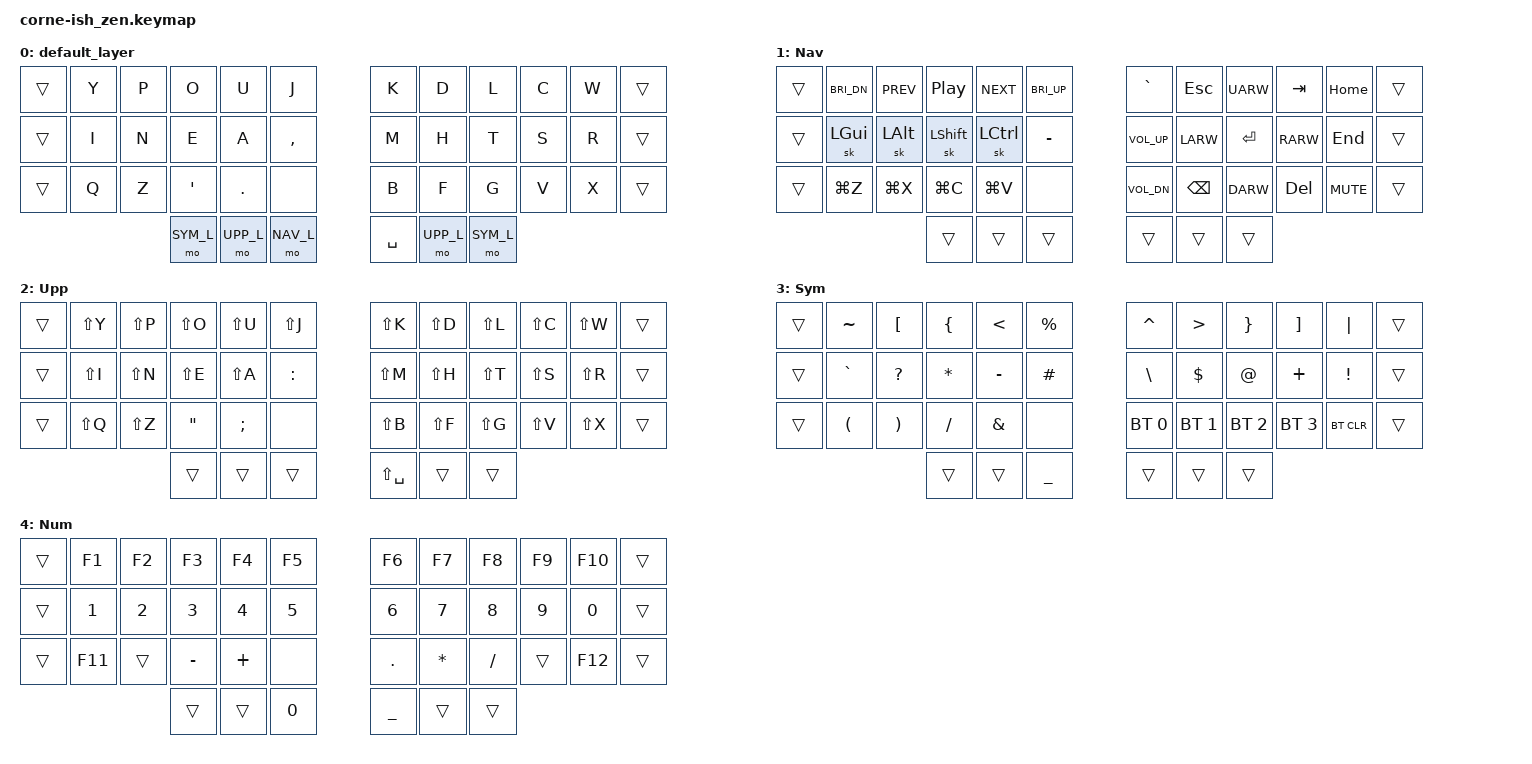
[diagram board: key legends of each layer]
/*
 * Copyright (c) 2020 The ZMK Contributors
 *
 * SPDX-License-Identifier: MIT
 */

#include <behaviors.dtsi>
#include <dt-bindings/zmk/keys.h>
#include <dt-bindings/zmk/bt.h>

/* Layers */
#define DEF_L 0
#define NAV_L 1
#define UPP_L 2
#define SYM_L 3
#define NUM_L 4

/* Behavior Settings */
&sk {
  release-after-ms = <60000>;
};

/ {

    ZMK_MACRO(mo_nav,
        wait-ms = <0>;
        tap-ms = <0>;
        bindings
        = <&macro_tap &kp K_CANCEL>
        , <&macro_press &mo NAV_L>
        , <&macro_pause_for_release>
        , <&macro_release &mo NAV_L>;)

    conditional_layers {
        compatible = "zmk,conditional-layers";
        tri_layer {
            if-layers = <UPP_L SYM_L>;
            then-layer = <NUM_L>;
        };
    };

    keymap {
        compatible = "zmk,keymap";

        default_layer {
            bindings = <
        //  ╭─────────────┬─────────────┬─────────────┬─────────────┬─────────────╮   ╭─────────────┬─────────────┬─────────────┬─────────────┬─────────────╮
&trans        &kp Y         &kp P         &kp O         &kp U         &kp J             &kp K         &kp D         &kp L         &kp C         &kp W         &trans
&trans        &kp I         &kp N         &kp E         &kp A         &kp CMMA          &kp M         &kp H         &kp T         &kp S         &kp R         &trans
&trans        &kp Q         &kp Z         &kp SQT       &kp DOT       &none             &kp B         &kp F         &kp G         &kp V         &kp X         &trans
        //  ╰─────────────┴─────────────╮                                                                                       ╭─────────────┴─────────────╯
                                          &mo SYM_L     &mo UPP_L     &mo NAV_L         &kp SPACE     &mo UPP_L     &mo SYM_L
        //                              ╰─────────────┴─────────────┴─────────────╯   ╰─────────────┴─────────────┴─────────────╯
            >;
        };

        nav_layer {
            label = "Nav";
            bindings = <
        //  ╭─────────────┬─────────────┬─────────────┬─────────────┬─────────────╮   ╭─────────────┬─────────────┬─────────────┬─────────────┬─────────────╮
&trans        &kp C_BRI_DN  &kp C_PREV    &kp C_PP      &kp C_NEXT    &kp C_BRI_UP      &kp GRAVE     &kp ESC       &kp UARW      &kp TAB       &kp HOME      &trans
&trans        &sk LGUI      &sk LALT      &sk LSHFT     &sk LCTRL     &kp MINUS         &kp C_VOL_UP  &kp LARW      &kp ENTER     &kp RARW      &kp END       &trans
&trans        &kp LG(Z)     &kp LG(X)     &kp LG(C)     &kp LG(V)     &none             &kp C_VOL_DN  &kp BSPC      &kp DARW      &kp DEL       &kp K_MUTE    &trans
        //  ╰─────────────┴─────────────╮                                                                                       ╭─────────────┴─────────────╯
                                          &trans        &trans        &trans            &trans        &trans        &trans
        //                              ╰─────────────┴─────────────┴─────────────╯   ╰─────────────┴─────────────┴─────────────╯
            >;
        };

        upper_layer {
            label = "Upp";
            bindings = <
        //  ╭─────────────┬─────────────┬─────────────┬─────────────┬─────────────╮   ╭─────────────┬─────────────┬─────────────┬─────────────┬─────────────╮
&trans        &kp LS(Y)     &kp LS(P)     &kp LS(O)     &kp LS(U)     &kp LS(J)         &kp LS(K)     &kp LS(D)     &kp LS(L)     &kp LS(C)     &kp LS(W)     &trans
&trans        &kp LS(I)     &kp LS(N)     &kp LS(E)     &kp LS(A)     &kp COLON         &kp LS(M)     &kp LS(H)     &kp LS(T)     &kp LS(S)     &kp LS(R)     &trans
&trans        &kp LS(Q)     &kp LS(Z)     &kp DQT       &kp SEMI      &none             &kp LS(B)     &kp LS(F)     &kp LS(G)     &kp LS(V)     &kp LS(X)     &trans
        //  ╰─────────────┴─────────────╮                                                                                       ╭─────────────┴─────────────╯
                                          &trans        &trans        &trans            &kp LS(SPACE) &trans        &trans
        //                              ╰─────────────┴─────────────┴─────────────╯   ╰─────────────┴─────────────┴─────────────╯
            >;
        };

        sym_layer {
            label = "Sym";
            bindings = <
        //  ╭─────────────┬─────────────┬─────────────┬─────────────┬─────────────╮   ╭─────────────┬─────────────┬─────────────┬─────────────┬─────────────╮
&trans        &kp TILDE     &kp LBKT      &kp LBRC      &kp LT        &kp PRCNT         &kp CARET     &kp GT        &kp RBRC      &kp RBKT      &kp PIPE      &trans
&trans        &kp GRAVE     &kp QMARK     &kp ASTRK     &kp MINUS     &kp POUND         &kp BSLH      &kp DLLR      &kp AT        &kp PLUS      &kp EXCL      &trans
&trans        &kp LPAR      &kp RPAR      &kp FSLH      &kp AMPS      &none             &bt BT_SEL 0  &bt BT_SEL 1  &bt BT_SEL 2  &bt BT_SEL 3  &bt BT_CLR    &trans
        //  ╰─────────────┴─────────────╮                                                                                       ╭─────────────┴─────────────╯
                                          &trans        &trans        &kp UNDER         &trans        &trans        &trans
        //                              ╰─────────────┴─────────────┴─────────────╯   ╰─────────────┴─────────────┴─────────────╯
            >;
        };

        num_layer {
            label = "Num";
            bindings = <
        //  ╭─────────────┬─────────────┬─────────────┬─────────────┬─────────────╮   ╭─────────────┬─────────────┬─────────────┬─────────────┬─────────────╮
&trans        &kp F1        &kp F2        &kp F3        &kp F4        &kp F5            &kp F6        &kp F7        &kp F8        &kp F9        &kp F10       &trans
&trans        &kp N1        &kp N2        &kp N3        &kp N4        &kp N5            &kp N6        &kp N7        &kp N8        &kp N9        &kp N0        &trans
&trans        &kp F11       &trans        &kp MINUS     &kp PLUS      &none             &kp DOT       &kp ASTRK     &kp FSLH      &trans        &kp F12       &trans
        //  ╰─────────────┴─────────────╮                                                                                       ╭─────────────┴─────────────╯
                                          &trans        &trans        &kp N0            &kp UNDER     &trans        &trans
        //                              ╰─────────────┴─────────────┴─────────────╯   ╰─────────────┴─────────────┴─────────────╯
            >;
        };
    };
};
